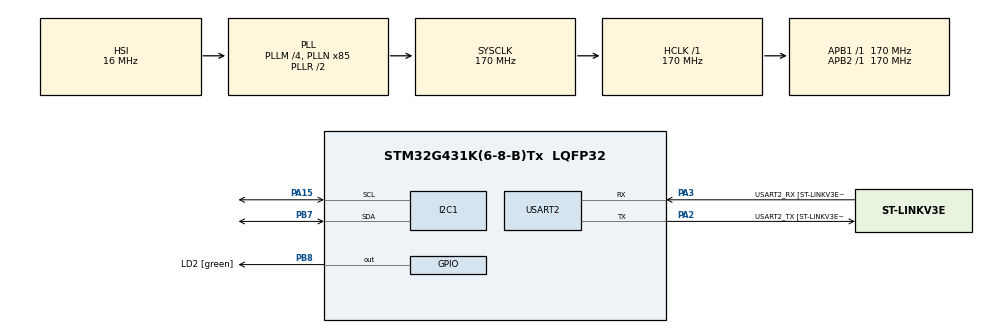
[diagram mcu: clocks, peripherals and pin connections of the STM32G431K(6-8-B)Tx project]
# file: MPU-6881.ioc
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I2C1.Speed=100
I2C1.Timing=0x30A0A7FB
Mcu.Family=STM32G4
Mcu.Name=STM32G431K(6-8-B)Tx
Mcu.Package=LQFP32
NVIC.PriorityGroup=NVIC_PRIORITYGROUP_4
PA13.GPIO_Label=T_SWDIO
PA13.Mode=Serial_Wire
PA13.Signal=SYS_JTMS-SWDIO
PA14.GPIO_Label=T_SWCLK
PA14.Mode=Serial_Wire
PA14.Signal=SYS_JTCK-SWCLK
PA15.Mode=I2C
PA15.Signal=I2C1_SCL
PA2.GPIO_Label=USART2_TX [ST-LINKV3E_VCP_RX]
PA2.Mode=Asynchronous
PA2.Signal=USART2_TX
PA3.GPIO_Label=USART2_RX [ST-LINKV3E_VCP_TX]
PA3.Mode=Asynchronous
PA3.Signal=USART2_RX
PB3.GPIO_Label=T_SWO
PB3.Signal=SYS_JTDO-SWO
PB7.Mode=I2C
PB7.Signal=I2C1_SDA
PB8-BOOT0.GPIO_Label=LD2 [green]
PB8-BOOT0.Signal=GPIO_Output
ProjectManager.HeapSize=0x200
ProjectManager.StackSize=0x400
ProjectManager.TargetToolchain=STM32CubeIDE
RCC.ADC12Freq_Value=170000000
RCC.AHBFreq_Value=170000000
RCC.APB1Freq_Value=170000000
RCC.APB1TimFreq_Value=170000000
RCC.APB2Freq_Value=170000000
RCC.APB2TimFreq_Value=170000000
RCC.CortexFreq_Value=170000000
RCC.EXTERNAL_CLOCK_VALUE=12288000
RCC.HCLKFreq_Value=170000000
RCC.HSE_VALUE=8000000
RCC.HSI48_VALUE=48000000
RCC.HSI_VALUE=16000000
RCC.LSE_VALUE=32768
RCC.PLLM=RCC_PLLM_DIV4
RCC.PLLN=85
RCC.SYSCLKFreq_VALUE=170000000
RCC.SYSCLKSource=RCC_SYSCLKSOURCE_PLLCLK
RCC.USBFreq_Value=170000000
RCC.VCOOutputFreq_Value=340000000
USART2.VirtualMode-Asynchronous=VM_ASYNC
USART2.WordLength=WORDLENGTH_8B
board=NUCLEO-G431KB

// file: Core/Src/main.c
/* USER CODE BEGIN Header */
/**
  ******************************************************************************
  * @file           : main.c
  * @brief          : Main program body
  ******************************************************************************
  * @attention
  *
  * Copyright (c) 2023 STMicroelectronics.
  * All rights reserved.
  *
  * This software is licensed under terms that can be found in the LICENSE file
  * in the root directory of this software component.
  * If no LICENSE file comes with this software, it is provided AS-IS.
  *
  ******************************************************************************
  */
/* USER CODE END Header */
#include "main.h"

/* USER CODE BEGIN Includes */
#include <string.h>
#include <stdio.h>
#include <math.h>
#include <stdlib.h>
/* USER CODE END Includes */

/* USER CODE BEGIN PD */
#define MPU6881_ADDR 0x68<<1
#define ACCEL_XOUT_H 0x3B
#define ACCEL_XOUT_L 0x3C
#define ACCEL_YOUT_H 0x3D
#define ACCEL_YOUT_L 0x3E
#define ACCEL_ZOUT_H 0x3F
#define ACCEL_ZOUT_L 0x40

#define GYRO_XOUT_H 0x43
#define GYRO_XOUT_L 0x44
#define GYRO_YOUT_H 0x45
#define GYRO_YOUT_L 0x46
#define GYRO_ZOUT_H 0x47
#define GYRO_ZOUT_L 0x48

/* USER CODE END PD */

I2C_HandleTypeDef hi2c1;

UART_HandleTypeDef huart2;

void SystemClock_Config(void);
static void MX_GPIO_Init(void);
static void MX_USART2_UART_Init(void);
static void MX_I2C1_Init(void);
/* USER CODE BEGIN PFP */
void UART_PRINT_VAL(double value);
void UART_PRINT_TEXT(uint8_t* MSG);

void MPU6881_INIT(void);
double MPU6881_GET_DATA(uint8_t addr, uint16_t dataSize);
/* USER CODE END PFP */

int main(void)
{

  /* MCU Configuration--------------------------------------------------------*/

  /* Reset of all peripherals, Initializes the Flash interface and the Systick. */
  HAL_Init();

  /* Configure the system clock */
  SystemClock_Config();

  /* Initialize all configured peripherals */
  MX_GPIO_Init();
  MX_USART2_UART_Init();
  MX_I2C1_Init();
  /* USER CODE BEGIN 2 */
  double xAccel = 0;
  double yAccel = 0;
  double zAccel = 0;
  double xGyro = 0;
  double yGyro = 0;
  double zGyro = 0;

  //HAL_Delay(100);
  //MPU6881_INIT();
  //HAL_Delay(500);
  /* USER CODE END 2 */

  /* Infinite loop */
  /* USER CODE BEGIN WHILE */
  while (1)
  {

	  xAccel = MPU6881_GET_DATA(ACCEL_XOUT_H, 2); // this will read H reg and then L reg?
	  UART_PRINT_VAL(xAccel);
	  UART_PRINT_TEXT("\n");
	  /*
	  yAccel = MPU6881_GET_DATA(ACCEL_YOUT_H, 2);
	  zAccel = MPU6881_GET_DATA(ACCEL_ZOUT_H, 2);

	  xGyro = MPU6881_GET_DATA(GYRO_XOUT_H, 2);
	  yGyro = MPU6881_GET_DATA(GYRO_YOUT_H, 2);
	  zGyro = MPU6881_GET_DATA(GYRO_ZOUT_H, 2);

	  HAL_Delay(1);

	  UART_PRINT_TEXT("Accelerometer: ");
	  UART_PRINT_TEXT("( ");
	  UART_PRINT_VAL(xAccel);
	  UART_PRINT_TEXT(", ");
	  UART_PRINT_VAL(yAccel);
	  UART_PRINT_TEXT(", ");
	  UART_PRINT_VAL(zAccel);
	  UART_PRINT_TEXT(" )\n");

	  UART_PRINT_TEXT("Gyro: ");
	  UART_PRINT_TEXT("( ");
	  UART_PRINT_VAL(xGyro);
	  UART_PRINT_TEXT(", ");
	  UART_PRINT_VAL(yGyro);
	  UART_PRINT_TEXT(", ");
	  UART_PRINT_VAL(zGyro);
	  UART_PRINT_TEXT(" )\n");
	  /*

	  HAL_Delay(100);

    /* USER CODE END WHILE */

  }
}

void SystemClock_Config(void)
{
  RCC_OscInitTypeDef RCC_OscInitStruct = {0};
  RCC_ClkInitTypeDef RCC_ClkInitStruct = {0};

  /** Configure the main internal regulator output voltage
  */
  HAL_PWREx_ControlVoltageScaling(PWR_REGULATOR_VOLTAGE_SCALE1_BOOST);

  /** Initializes the RCC Oscillators according to the specified parameters
  * in the RCC_OscInitTypeDef structure.
  */
  RCC_OscInitStruct.OscillatorType = RCC_OSCILLATORTYPE_HSI;
  RCC_OscInitStruct.HSIState = RCC_HSI_ON;
  RCC_OscInitStruct.HSICalibrationValue = RCC_HSICALIBRATION_DEFAULT;
  RCC_OscInitStruct.PLL.PLLState = RCC_PLL_ON;
  RCC_OscInitStruct.PLL.PLLSource = RCC_PLLSOURCE_HSI;
  RCC_OscInitStruct.PLL.PLLM = RCC_PLLM_DIV4;
  RCC_OscInitStruct.PLL.PLLN = 85;
  RCC_OscInitStruct.PLL.PLLP = RCC_PLLP_DIV2;
  RCC_OscInitStruct.PLL.PLLQ = RCC_PLLQ_DIV2;
  RCC_OscInitStruct.PLL.PLLR = RCC_PLLR_DIV2;
  if (HAL_RCC_OscConfig(&RCC_OscInitStruct) != HAL_OK)
  {
    Error_Handler();
  }

  /** Initializes the CPU, AHB and APB buses clocks
  */
  RCC_ClkInitStruct.ClockType = RCC_CLOCKTYPE_HCLK|RCC_CLOCKTYPE_SYSCLK
                              |RCC_CLOCKTYPE_PCLK1|RCC_CLOCKTYPE_PCLK2;
  RCC_ClkInitStruct.SYSCLKSource = RCC_SYSCLKSOURCE_PLLCLK;
  RCC_ClkInitStruct.AHBCLKDivider = RCC_SYSCLK_DIV1;
  RCC_ClkInitStruct.APB1CLKDivider = RCC_HCLK_DIV1;
  RCC_ClkInitStruct.APB2CLKDivider = RCC_HCLK_DIV1;

  if (HAL_RCC_ClockConfig(&RCC_ClkInitStruct, FLASH_LATENCY_4) != HAL_OK)
  {
    Error_Handler();
  }
}

static void MX_I2C1_Init(void)
{

  hi2c1.Instance = I2C1;
  hi2c1.Init.Timing = 0x30A0A7FB;
  hi2c1.Init.OwnAddress1 = 0;
  hi2c1.Init.AddressingMode = I2C_ADDRESSINGMODE_7BIT;
  hi2c1.Init.DualAddressMode = I2C_DUALADDRESS_DISABLE;
  hi2c1.Init.OwnAddress2 = 0;
  hi2c1.Init.OwnAddress2Masks = I2C_OA2_NOMASK;
  hi2c1.Init.GeneralCallMode = I2C_GENERALCALL_DISABLE;
  hi2c1.Init.NoStretchMode = I2C_NOSTRETCH_DISABLE;
  if (HAL_I2C_Init(&hi2c1) != HAL_OK)
  {
    Error_Handler();
  }

  /** Configure Analogue filter
  */
  if (HAL_I2CEx_ConfigAnalogFilter(&hi2c1, I2C_ANALOGFILTER_ENABLE) != HAL_OK)
  {
    Error_Handler();
  }

  /** Configure Digital filter
  */
  if (HAL_I2CEx_ConfigDigitalFilter(&hi2c1, 0) != HAL_OK)
  {
    Error_Handler();
  }

}

static void MX_USART2_UART_Init(void)
{

  huart2.Instance = USART2;
  huart2.Init.BaudRate = 115200;
  huart2.Init.WordLength = UART_WORDLENGTH_8B;
  huart2.Init.StopBits = UART_STOPBITS_1;
  huart2.Init.Parity = UART_PARITY_NONE;
  huart2.Init.Mode = UART_MODE_TX_RX;
  huart2.Init.HwFlowCtl = UART_HWCONTROL_NONE;
  huart2.Init.OverSampling = UART_OVERSAMPLING_16;
  huart2.Init.OneBitSampling = UART_ONE_BIT_SAMPLE_DISABLE;
  huart2.Init.ClockPrescaler = UART_PRESCALER_DIV1;
  huart2.AdvancedInit.AdvFeatureInit = UART_ADVFEATURE_NO_INIT;
  if (HAL_UART_Init(&huart2) != HAL_OK)
  {
    Error_Handler();
  }
  if (HAL_UARTEx_SetTxFifoThreshold(&huart2, UART_TXFIFO_THRESHOLD_1_8) != HAL_OK)
  {
    Error_Handler();
  }
  if (HAL_UARTEx_SetRxFifoThreshold(&huart2, UART_RXFIFO_THRESHOLD_1_8) != HAL_OK)
  {
    Error_Handler();
  }
  if (HAL_UARTEx_DisableFifoMode(&huart2) != HAL_OK)
  {
    Error_Handler();
  }

}

static void MX_GPIO_Init(void)
{
  GPIO_InitTypeDef GPIO_InitStruct = {0};

  /* GPIO Ports Clock Enable */
  __HAL_RCC_GPIOA_CLK_ENABLE();
  __HAL_RCC_GPIOB_CLK_ENABLE();

  /*Configure GPIO pin Output Level */
  HAL_GPIO_WritePin(LD2_GPIO_Port, LD2_Pin, GPIO_PIN_RESET);

  /*Configure GPIO pin : LD2_Pin */
  GPIO_InitStruct.Pin = LD2_Pin;
  GPIO_InitStruct.Mode = GPIO_MODE_OUTPUT_PP;
  GPIO_InitStruct.Pull = GPIO_NOPULL;
  GPIO_InitStruct.Speed = GPIO_SPEED_FREQ_LOW;
  HAL_GPIO_Init(LD2_GPIO_Port, &GPIO_InitStruct);

}

/* USER CODE BEGIN 4 */
void UART_PRINT_VAL(double value){
	char total[50];
	char temp[10];
	if(value < 0){
	   UART_PRINT_TEXT("-");
	}
	sprintf(total, "%i", abs((int)value));
	strcat(total, ".");
	double currentVal = (value - (int) value);
	for(int a=0;a<6;a++){
		currentVal *= 10;
		sprintf(temp, "%i", abs((int)currentVal));
		strcat(total, temp);
		currentVal -= (int)currentVal;
	}
	HAL_UART_Transmit(&huart2, total, strlen(total), 100);
}

void UART_PRINT_TEXT(uint8_t* MSG){
	HAL_UART_Transmit(&huart2, MSG, strlen(MSG), 100);
}

void MPU6881_INIT(void){
	uint8_t PWR_MGMT_1[1] = {0x09};
	HAL_I2C_Mem_Write(&hi2c1, MPU6881_ADDR, 0x6B, 1, PWR_MGMT_1, 1, HAL_MAX_DELAY);

	uint8_t PWR_MGMT_2[1] = {0x00};
	HAL_I2C_Mem_Write(&hi2c1, MPU6881_ADDR, 0x6C, 1, PWR_MGMT_2, 1, HAL_MAX_DELAY);

	uint8_t I2C_IF[1] = {0x00};
	HAL_I2C_Mem_Write(&hi2c1, MPU6881_ADDR, 0x70, 1, I2C_IF, 1, HAL_MAX_DELAY);
}

double MPU6881_GET_DATA(uint8_t addr, uint16_t dataSize){
	double val = 0;
	uint16_t value = 0;
	uint8_t receiveData[dataSize];
	HAL_I2C_Mem_Read(&hi2c1, MPU6881_ADDR, addr, 1, receiveData, dataSize, 100);

	value = (receiveData[1] << 8 | receiveData[0]);
	if(value > 0x7fff){
		value = ~value;
		val = -value;
	}
	else{
		val = value;
	}

	return val;
}
/* USER CODE END 4 */

void Error_Handler(void)
{
  __disable_irq();
  while (1)
  {
  }
}
